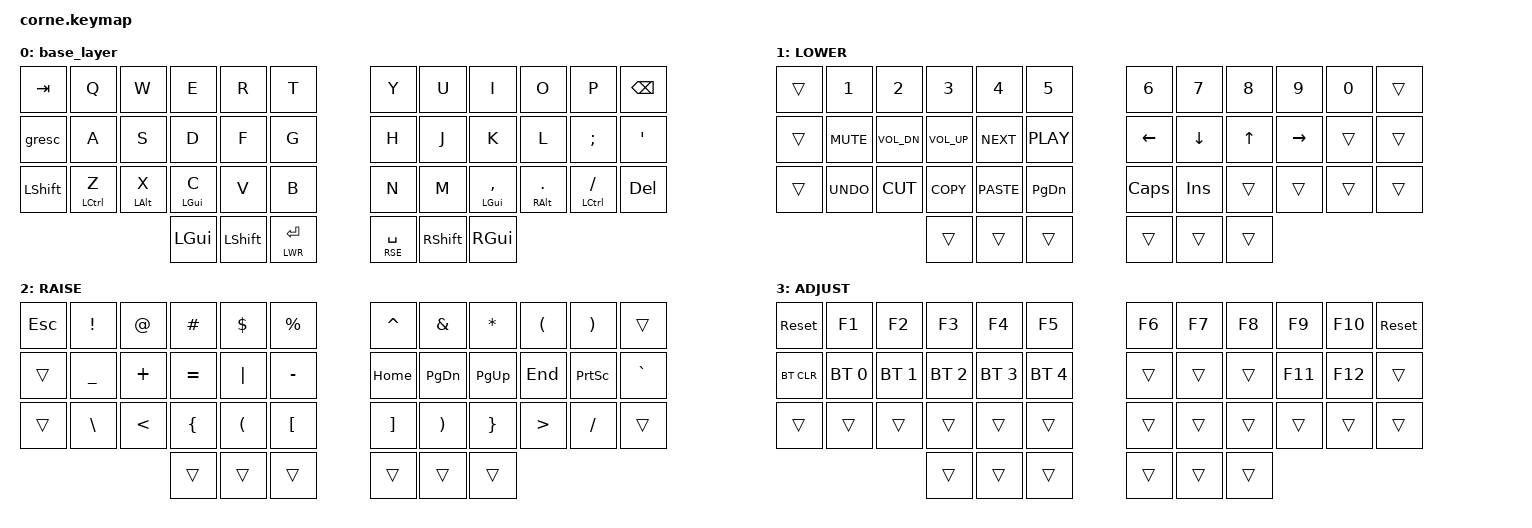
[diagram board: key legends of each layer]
/*
 * Copyright (c) 2020 The ZMK Contributors
 *
 * SPDX-License-Identifier: MIT
 */
#include <behaviors.dtsi>
#include <dt-bindings/zmk/keys.h>
#include <dt-bindings/zmk/bt.h>
#include <dt-bindings/zmk/ext_power.h>

// Layer Definitions
#define DEF 0
#define LWR 1
#define RSE 2
#define ADJ 3

&mt {
    tapping-term-ms = <201>;
    flavor = "tap-preferred";
 };
&sk {
     release-after-ms = <2000>;
     quick-release;
 };


// Helper for defining combos
#define COMBO(NAME, TIMEOUT, BINDINGS, KEYPOS, LAYERS) \
combo_##NAME { \
    timeout-ms = <TIMEOUT>; \
    bindings = <BINDINGS>; \
    key-positions = <KEYPOS>; \
    layers = <LAYERS>; \
};

/ {
    combos {
        compatible = "zmk,combos";
        COMBO(escape, 50, &kp ESC, 0 1, 0)
    };

    behaviors {
        hm_l: homerow_mods_left {
            compatible = "zmk,behavior-hold-tap";
            label = "HOMEROW_MODS_L";
            #binding-cells = <2>;
            tapping-term-ms = <300>;
            quick-tap-ms = <250>;
            flavor = "tap-preferred";
            bindings = <&kp>, <&kp>;
        };
        hm_r: homerow_mods_right {
            compatible = "zmk,behavior-hold-tap";
            label = "HOMEROW_MODS_R";
            #binding-cells = <2>;
            tapping-term-ms = <300>;
            quick-tap-ms = <250>;
            flavor = "tap-preferred";
            bindings = <&kp>, <&kp>;
        };
    };

    conditional_layers {
        compatible = "zmk,conditional-layers";
        tri_layer {
            if-layers = <LWR RSE>;
            then-layer = <ADJ>;
        };
    };

    keymap {
        compatible = "zmk,keymap";

        base_layer {
// .----------------------------------------------------------.       .-----------------------------------------------------------.
// |   TAB    |    Q    |    W   |   E    |    R    |    T    |       |   Y   |    U    |    I    |    O    |     P    |   BSPC   |
// |----------+---------+--------+--------+---------+---------|       |-------+---------+---------+---------+----------+----------|
// |   GESC   |    A    |    S   |   D    |    F    |    G    |       |   H   |    J    |    K    |    L    |     ;    |     '    |
// |----------+---------+--------+--------+---------+---------|       |-------+---------+---------+---------+----------+----------|
// |   SHFT   |    Z    |    X   |   C    |    V    |    B    |       |   N   |    M    |    ,    |    .    |     /    |    DEL   |
// '-----------------------------+--------+---------+---------+       |-------+---------+---------+-------------------------------'
//                               |  GUI   |  LSFT   |   ENT   |       |  SPC  |  RSHFT  |   GUI   |
//                               '--------+---------+---------'       '-------+---------+---------'
            bindings = <
   &kp TAB   &kp Q         &kp W         &kp E        &kp R       &kp T          &kp Y           &kp U          &kp I            &kp O            &kp P            &kp BSPC
   &gresc    &kp A         &kp S         &kp D        &kp F       &kp G          &kp H           &kp J          &kp K            &kp L           &kp SEMI          &kp SQT
   &kp LSHFT &hm_l LCTRL Z &hm_l LALT X  &hm_l LGUI C &kp V       &kp B          &kp N           &kp M          &hm_r LGUI COMMA &hm_r RALT DOT   &hm_r LCTRL FSLH &kp DEL
                                         &kp LGUI     &kp LSHFT   &lt LWR RET    &lt RSE SPACE   &kp RSHFT      &kp RGUI
            >;
        };

        LOWER {
// .----------------------------------------------------------.       .---------------------------------------------------------------.
// |          |   1   |    2   |   3    |     4    |     5    |       |    6   |     7   |     8   |    9    |     0    |             |
// |----------+-------+--------+--------+----------+----------|       |--------+---------+---------+---------+----------+-------------|
// |          |   🔇  |   🔈   |   🔊   |    ⏩    |     ▶    |       |    ⬆   |    ⬇    |    ⬅    |    ⮕   |          |             |
// |----------+-------+--------+--------+----------+----------|       |--------+---------+---------+---------+----------+-------------|
// |          |  UNDO |  CUT   |  COPY  |  PASTE   |   PGDN   |       |  CAPS  |   INS   |         |         |          |             |
// '---------------------------+--------+----------+----------+       |--------+---------+---------+----------------------------------'
//                             |        |          |          |       |        |         |         |
//                             '--------+----------+----------'       '--------+---------+---------'

            bindings = <
   &trans    &kp N1      &kp N2       &kp N3       &kp N4       &kp N5               &kp N6          &kp N7         &kp N8         &kp N9         &kp N0         &trans
   &trans    &kp K_MUTE  &kp K_VOL_DN &kp K_VOL_UP &kp K_NEXT   &kp C_PLAY           &kp LEFT        &kp DOWN       &kp UP         &kp RIGHT      &trans         &trans
   &trans    &kp K_UNDO  &kp K_CUT    &kp K_COPY   &kp K_PASTE  &kp PG_DN            &kp CAPS        &kp INSERT     &trans         &trans         &trans         &trans
                                      &trans       &trans       &trans               &trans          &trans         &trans
            >;
        };

        RAISE {
// .----------------------------------------------------------.       .-----------------------------------------------------------.
// |   ESC    |    !    |    @   |   #    |    $    |    %    |       |   ^   |    &    |    *    |    (    |     )    |          |
// |----------+---------+--------+--------+---------+---------|       |-------+---------+---------+---------+----------+----------|
// |          |    _    |    +   |   =    |    |    |    -    |       |  HOME |   PGDN  |   PGUP  |   END   |   PSCRN  |    `     |
// |----------+---------+--------+--------+---------+---------|       |-------+---------+---------+---------+----------+----------|
// |          |    \    |    <   |   {    |    (    |    [    |       |   ]   |    )    |    }    |    >    |     /    |          |
// '-----------------------------+--------+---------+---------+       |-------+---------+---------+-------------------------------'
//                               |        |         |         |       |       |         |         |
//                               '--------+---------+---------'       '-------+---------+---------'
            bindings = <
   &kp ESC   &kp EXCL    &kp AT      &kp HASH    &kp DLLR    &kp PRCNT            &kp CARET      &kp AMPS       &kp ASTRK      &kp LPAR       &kp RPAR       &trans
   &trans    &kp UNDER   &kp PLUS    &kp EQUAL   &kp PIPE    &kp MINUS            &kp HOME       &kp PG_DN      &kp PG_UP      &kp END        &kp PSCRN      &kp GRAVE
   &trans    &kp BSLH    &kp LT      &kp LBRC    &kp LPAR    &kp LBKT             &kp RBKT       &kp RPAR       &kp RBRC       &kp GT         &kp FSLH       &trans
                                     &trans       &trans     &trans               &trans         &trans         &trans
            >;
        };

        ADJUST {
// .---------------------------------------------------------.       .--------------------------------------------------------------.
// |          |   F1   |   F2   |   F3   |   F4    |   F5    |       |   F6   |   F7   |   F8    |   F9    |   F10    |             |
// |----------+--------+--------+--------+---------+---------|       |--------+--------+---------+---------+----------+-------------|
// |  BTCLR   |  BT1   |  BT2   |  BT3   |  BT4    |  BT5    |       |        |        |         |   F11   |   F12    |  BT Toggle  |
// |----------+--------+--------+--------+---------+---------|       |--------+--------+---------+---------+----------+-------------|
// |          |        |        |        |         |         |       |        |        |         |         |          |             |
// '----------------------------+--------+---------+---------+       |--------+--------+---------+----------------------------------'
//                              |        |         |         |       |        |        |         |
//                              '--------+---------+---------'       '--------+--------+---------'
            bindings = <
   &sys_reset &kp F1       &kp F2       &kp F3       &kp F4       &kp F5               &kp F6          &kp F7         &kp F8         &kp F9         &kp F10        &sys_reset
   &bt BT_CLR &bt BT_SEL 0 &bt BT_SEL 1 &bt BT_SEL 2 &bt BT_SEL 3 &bt BT_SEL 4         &trans          &trans         &trans         &kp F11        &kp F12        &trans
   &trans     &trans       &trans       &trans       &trans       &trans               &trans          &trans         &trans         &trans         &trans         &trans
                                        &trans       &trans       &trans               &trans          &trans         &trans
            >;
        };
    };
};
